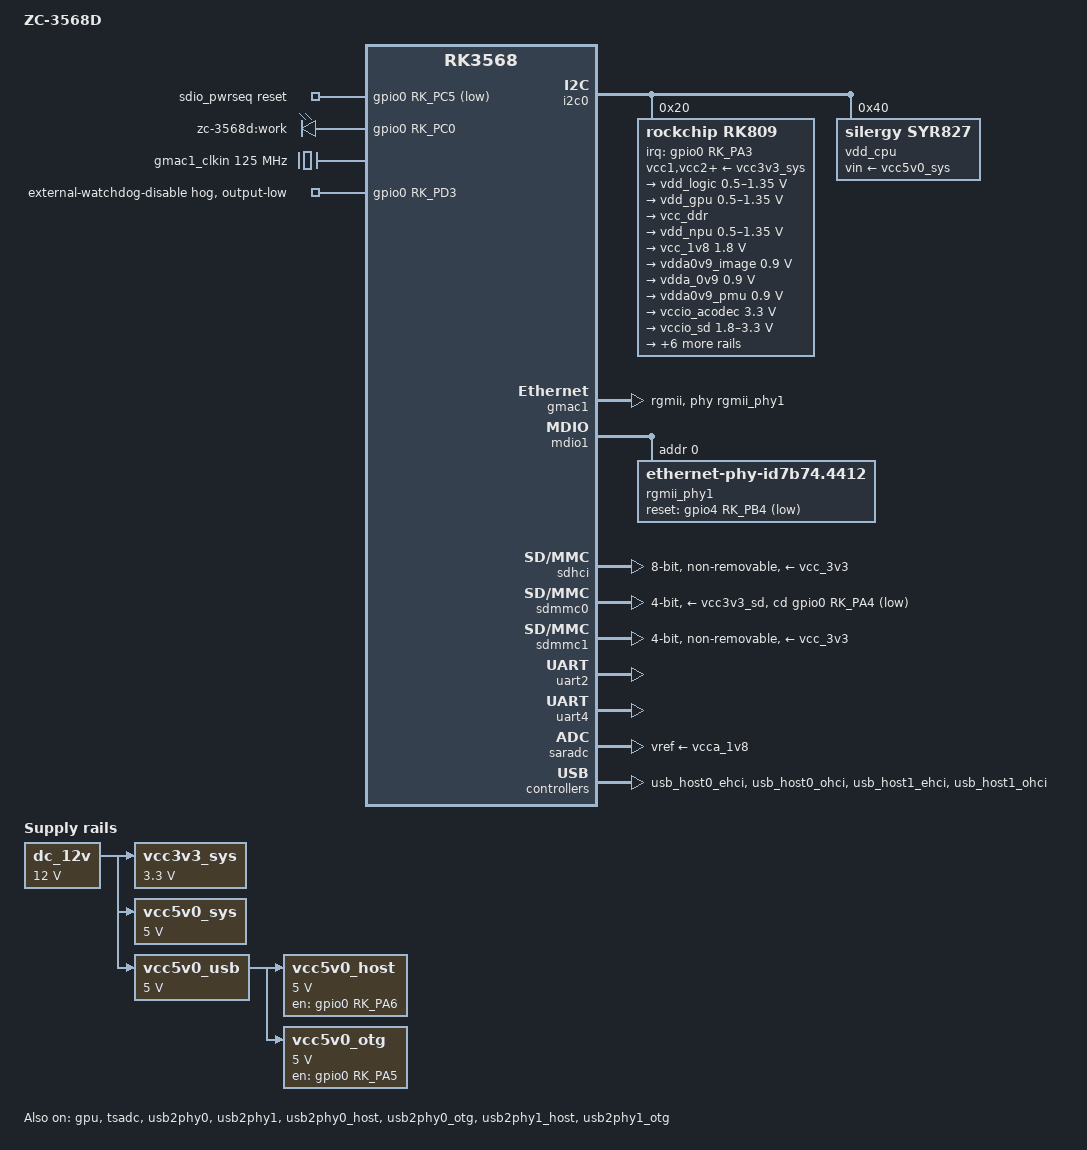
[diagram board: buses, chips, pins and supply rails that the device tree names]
// SPDX-License-Identifier: (GPL-2.0+ OR MIT)
/dts-v1/;

#include <dt-bindings/gpio/gpio.h>
#include <dt-bindings/pinctrl/rockchip.h>
#include <dt-bindings/pwm/pwm.h>
#include "rk3568.dtsi"

/ {
	model = "ZC-3568D";
	compatible = "zc,zc-3568d", "rockchip,rk3568";

	aliases {
		ethernet0 = &gmac1;
		mmc0 = &sdhci;
		mmc1 = &sdmmc0;
		mmc2 = &sdmmc1;
	};
	chosen { stdout-path = "serial2:1500000n8"; };

	dc_12v: dc-12v {
		compatible = "regulator-fixed";

		regulator-always-on;
		regulator-boot-on;
		regulator-max-microvolt = <0xb71b00>;
		regulator-min-microvolt = <0xb71b00>;
		regulator-name = "dc_12v";
	};

	vcc3v3_sys: vcc3v3-sys {
		compatible = "regulator-fixed";

		regulator-always-on;
		regulator-boot-on;
		regulator-max-microvolt = <0x325aa0>;
		regulator-min-microvolt = <0x325aa0>;
		regulator-name = "vcc3v3_sys";
		vin-supply = <&dc_12v>;
	};

	vcc5v0_sys: vcc5v0-sys {
		compatible = "regulator-fixed";

		regulator-always-on;
		regulator-boot-on;
		regulator-max-microvolt = <0x4c4b40>;
		regulator-min-microvolt = <0x4c4b40>;
		regulator-name = "vcc5v0_sys";
		vin-supply = <&dc_12v>;
	};

	vcc5v0_usb: vcc5v0-usb {
		compatible = "regulator-fixed";

		regulator-always-on;
		regulator-boot-on;
		regulator-max-microvolt = <0x4c4b40>;
		regulator-min-microvolt = <0x4c4b40>;
		regulator-name = "vcc5v0_usb";
		vin-supply = <&dc_12v>;
	};

	vcc5v0_host: vcc5v0-host-regulator {
		compatible = "regulator-fixed";
		enable-active-high;
		gpio = <&gpio0 RK_PA6 GPIO_ACTIVE_HIGH>;

		regulator-always-on;
		regulator-boot-on;
		regulator-max-microvolt = <0x4c4b40>;
		regulator-min-microvolt = <0x4c4b40>;
		regulator-name = "vcc5v0_host";
		vin-supply = <&vcc5v0_usb>;
	};

	vcc5v0_otg: vcc5v0-otg-regulator {
		compatible = "regulator-fixed";
		enable-active-high;
		gpio = <&gpio0 RK_PA5 GPIO_ACTIVE_HIGH>;

		regulator-max-microvolt = <0x4c4b40>;
		regulator-min-microvolt = <0x4c4b40>;
		regulator-name = "vcc5v0_otg";
		vin-supply = <&vcc5v0_usb>;
	};

	sdio_pwrseq: sdio-pwrseq {
		compatible = "mmc-pwrseq-simple";
		reset-gpios = <&gpio0 RK_PC5 GPIO_ACTIVE_LOW>;
		post-power-on-delay-ms = <200>;
	};

	leds {
		compatible = "gpio-leds";
		led-work {
			label = "zc-3568d:work";
			gpios = <&gpio0 RK_PC0 GPIO_ACTIVE_HIGH>;
			linux,default-trigger = "heartbeat";
		};
	};
};

/* Keep the external watchdog disabled until a verified driver owns it. */
&gpio0 {
	external-watchdog-disable {
		gpio-hog;
		gpios = <RK_PD3 GPIO_ACTIVE_HIGH>;
		output-low;
		line-name = "external-watchdog-disable";
	};
};

&i2c0 {
	status = "okay";
	rk809: pmic@20 {
		compatible = "rockchip,rk809";
		reg = <0x20>;
		interrupt-parent = <&gpio0>;
		interrupts = <RK_PA3 IRQ_TYPE_LEVEL_LOW>;
		#clock-cells = <1>;
		clock-output-names = "rk808-clkout1", "rk808-clkout2";
		system-power-controller;
		wakeup-source;
		vcc1-supply = <&vcc3v3_sys>;
		vcc2-supply = <&vcc3v3_sys>;
		vcc3-supply = <&vcc3v3_sys>;
		vcc4-supply = <&vcc3v3_sys>;
		vcc5-supply = <&vcc3v3_sys>;
		vcc6-supply = <&vcc3v3_sys>;
		vcc7-supply = <&vcc3v3_sys>;
		vcc8-supply = <&vcc3v3_sys>;
		vcc9-supply = <&vcc3v3_sys>;
		regulators {

			vdd_logic: DCDC_REG1 {

				regulator-always-on;
				regulator-boot-on;
				regulator-init-microvolt = <0xdbba0>;
				regulator-initial-mode = <0x02>;
				regulator-max-microvolt = <0x149970>;
				regulator-min-microvolt = <0x7a120>;
				regulator-name = "vdd_logic";
				regulator-ramp-delay = <0x1771>;

				regulator-state-mem {
					regulator-off-in-suspend;
				};
			};

			vdd_gpu: DCDC_REG2 {

				regulator-always-on;
				regulator-boot-on;
				regulator-init-microvolt = <0xdbba0>;
				regulator-initial-mode = <0x02>;
				regulator-max-microvolt = <0x149970>;
				regulator-min-microvolt = <0x7a120>;
				regulator-name = "vdd_gpu";
				regulator-ramp-delay = <0x1771>;

				regulator-state-mem {
					regulator-off-in-suspend;
				};
			};

			vcc_ddr: DCDC_REG3 {

				regulator-always-on;
				regulator-boot-on;
				regulator-initial-mode = <0x02>;
				regulator-name = "vcc_ddr";

				regulator-state-mem {
					regulator-on-in-suspend;
				};
			};

			vdd_npu: DCDC_REG4 {

				regulator-always-on;
				regulator-boot-on;
				regulator-init-microvolt = <0xdbba0>;
				regulator-initial-mode = <0x02>;
				regulator-max-microvolt = <0x149970>;
				regulator-min-microvolt = <0x7a120>;
				regulator-name = "vdd_npu";
				regulator-ramp-delay = <0x1771>;

				regulator-state-mem {
					regulator-off-in-suspend;
				};
			};

			vcc_1v8: DCDC_REG5 {

				regulator-always-on;
				regulator-boot-on;
				regulator-max-microvolt = <0x1b7740>;
				regulator-min-microvolt = <0x1b7740>;
				regulator-name = "vcc_1v8";

				regulator-state-mem {
					regulator-off-in-suspend;
				};
			};

			vdda0v9_image: LDO_REG1 {

				regulator-always-on;
				regulator-boot-on;
				regulator-max-microvolt = <0xdbba0>;
				regulator-min-microvolt = <0xdbba0>;
				regulator-name = "vdda0v9_image";

				regulator-state-mem {
					regulator-off-in-suspend;
				};
			};

			vdda_0v9: LDO_REG2 {

				regulator-always-on;
				regulator-boot-on;
				regulator-max-microvolt = <0xdbba0>;
				regulator-min-microvolt = <0xdbba0>;
				regulator-name = "vdda_0v9";

				regulator-state-mem {
					regulator-off-in-suspend;
				};
			};

			vdda0v9_pmu: LDO_REG3 {

				regulator-always-on;
				regulator-boot-on;
				regulator-max-microvolt = <0xdbba0>;
				regulator-min-microvolt = <0xdbba0>;
				regulator-name = "vdda0v9_pmu";

				regulator-state-mem {
					regulator-on-in-suspend;
					regulator-suspend-microvolt = <0xdbba0>;
				};
			};

			vccio_acodec: LDO_REG4 {

				regulator-always-on;
				regulator-boot-on;
				regulator-max-microvolt = <0x325aa0>;
				regulator-min-microvolt = <0x325aa0>;
				regulator-name = "vccio_acodec";

				regulator-state-mem {
					regulator-off-in-suspend;
				};
			};

			vccio_sd: LDO_REG5 {

				regulator-always-on;
				regulator-boot-on;
				regulator-max-microvolt = <0x325aa0>;
				regulator-min-microvolt = <0x1b7740>;
				regulator-name = "vccio_sd";

				regulator-state-mem {
					regulator-off-in-suspend;
				};
			};

			vcc3v3_pmu: LDO_REG6 {

				regulator-always-on;
				regulator-boot-on;
				regulator-max-microvolt = <0x325aa0>;
				regulator-min-microvolt = <0x325aa0>;
				regulator-name = "vcc3v3_pmu";

				regulator-state-mem {
					regulator-on-in-suspend;
					regulator-suspend-microvolt = <0x325aa0>;
				};
			};

			vcca_1v8: LDO_REG7 {

				regulator-always-on;
				regulator-boot-on;
				regulator-max-microvolt = <0x1b7740>;
				regulator-min-microvolt = <0x1b7740>;
				regulator-name = "vcca_1v8";

				regulator-state-mem {
					regulator-off-in-suspend;
				};
			};

			vcca1v8_pmu: LDO_REG8 {

				regulator-always-on;
				regulator-boot-on;
				regulator-max-microvolt = <0x1b7740>;
				regulator-min-microvolt = <0x1b7740>;
				regulator-name = "vcca1v8_pmu";

				regulator-state-mem {
					regulator-on-in-suspend;
					regulator-suspend-microvolt = <0x1b7740>;
				};
			};

			vcca1v8_image: LDO_REG9 {

				regulator-always-on;
				regulator-boot-on;
				regulator-max-microvolt = <0x1b7740>;
				regulator-min-microvolt = <0x1b7740>;
				regulator-name = "vcca1v8_image";

				regulator-state-mem {
					regulator-off-in-suspend;
				};
			};

			vcc_3v3: SWITCH_REG1 {

				regulator-always-on;
				regulator-boot-on;
				regulator-name = "vcc_3v3";

				regulator-state-mem {
					regulator-off-in-suspend;
				};
			};

			vcc3v3_sd: SWITCH_REG2 {

				regulator-always-on;
				regulator-boot-on;
				regulator-name = "vcc3v3_sd";

				regulator-state-mem {
					regulator-off-in-suspend;
				};
			};
		};
	};
	vdd_cpu: regulator@40 {
		compatible = "silergy,syr827";
		fcs,suspend-voltage-selector = <0x01>;

		reg = <0x40>;
		regulator-always-on;
		regulator-boot-on;
		regulator-init-microvolt = <0xdbba0>;
		regulator-max-microvolt = <0x1535b0>;
		regulator-min-microvolt = <0xadf34>;
		regulator-name = "vdd_cpu";
		regulator-ramp-delay = <0x8fc>;
		vin-supply = <&vcc5v0_sys>;

		regulator-state-mem {
			regulator-off-in-suspend;
		};
	};
};

&cpu0 { cpu-supply = <&vdd_cpu>; };
&cpu1 { cpu-supply = <&vdd_cpu>; };
&cpu2 { cpu-supply = <&vdd_cpu>; };
&cpu3 { cpu-supply = <&vdd_cpu>; };
&gpu { mali-supply = <&vdd_gpu>; status = "okay"; };

&pmu_io_domains {
	pmuio1-supply = <&vcc3v3_pmu>;
	pmuio2-supply = <&vcc3v3_pmu>;
	vccio1-supply = <&vccio_acodec>;
	vccio3-supply = <&vccio_sd>;
	vccio4-supply = <&vcc_1v8>;
	vccio5-supply = <&vcc_3v3>;
	vccio6-supply = <&vcc_3v3>;
	vccio7-supply = <&vcc_3v3>;
	status = "okay";
};

&gmac1 {
	phy-mode = "rgmii";
	clock_in_out = "input";
	assigned-clocks = <&cru SCLK_GMAC1_RX_TX>, <&cru SCLK_GMAC1>;
	assigned-clock-parents = <&cru SCLK_GMAC1_RGMII_SPEED>, <&gmac1_clkin>;
	pinctrl-names = "default";
	pinctrl-0 = <&gmac1m1_miim &gmac1m1_tx_bus2 &gmac1m1_rx_bus2
	&gmac1m1_rgmii_clk &gmac1m1_rgmii_bus &gmac1m1_clkinout>;
	tx_delay = <0x46>;
	rx_delay = <0x2f>;
	phy-handle = <&rgmii_phy1>;
	status = "okay";
};

&mdio1 {
	rgmii_phy1: ethernet-phy@0 {
		compatible = "ethernet-phy-id7b74.4412", "ethernet-phy-ieee802.3-c22";
		reg = <0>;
		reset-gpios = <&gpio4 RK_PB4 GPIO_ACTIVE_LOW>;
		reset-assert-us = <20000>;
		reset-deassert-us = <100000>;
	};
};

&sdhci {
	bus-width = <8>;
	non-removable;
	max-frequency = <200000000>;
	mmc-hs200-1_8v;
	vmmc-supply = <&vcc_3v3>;
	vqmmc-supply = <&vcc_1v8>;
	status = "okay";
};

&sdmmc0 {
	bus-width = <4>;
	cap-sd-highspeed;
	sd-uhs-sdr104;
	disable-wp;
	cd-gpios = <&gpio0 RK_PA4 GPIO_ACTIVE_LOW>;
	pinctrl-names = "default";
	pinctrl-0 = <&sdmmc0_bus4 &sdmmc0_clk &sdmmc0_cmd>;
	vmmc-supply = <&vcc3v3_sd>;
	vqmmc-supply = <&vccio_sd>;
	status = "okay";
};

&sdmmc1 {
	bus-width = <4>;
	cap-sd-highspeed;
	cap-sdio-irq;
	non-removable;
	keep-power-in-suspend;
	mmc-pwrseq = <&sdio_pwrseq>;
	vmmc-supply = <&vcc_3v3>;
	vqmmc-supply = <&vcc_3v3>;
	status = "okay";
};

&uart2 { status = "okay"; };
&uart4 {
	pinctrl-names = "default";
	pinctrl-0 = <&uart4m0_xfer>;
	status = "okay";
};
&tsadc { status = "okay"; };
&saradc { vref-supply = <&vcca_1v8>; status = "okay"; };
&usb2phy0 { status = "okay"; };
&usb2phy1 { status = "okay"; };
&usb2phy0_host { phy-supply = <&vcc5v0_host>; status = "okay"; };
&usb2phy0_otg { vbus-supply = <&vcc5v0_otg>; status = "okay"; };
&usb2phy1_host { phy-supply = <&vcc5v0_host>; status = "okay"; };
&usb2phy1_otg { phy-supply = <&vcc5v0_host>; status = "okay"; };
&usb_host0_ehci { status = "okay"; };
&usb_host0_ohci { status = "okay"; };
&usb_host1_ehci { status = "okay"; };
&usb_host1_ohci { status = "okay"; };

/ {
	gmac1_clkin: clock-125m {
		compatible = "fixed-clock";
		#clock-cells = <0>;
		clock-frequency = <125000000>;
	};
};
